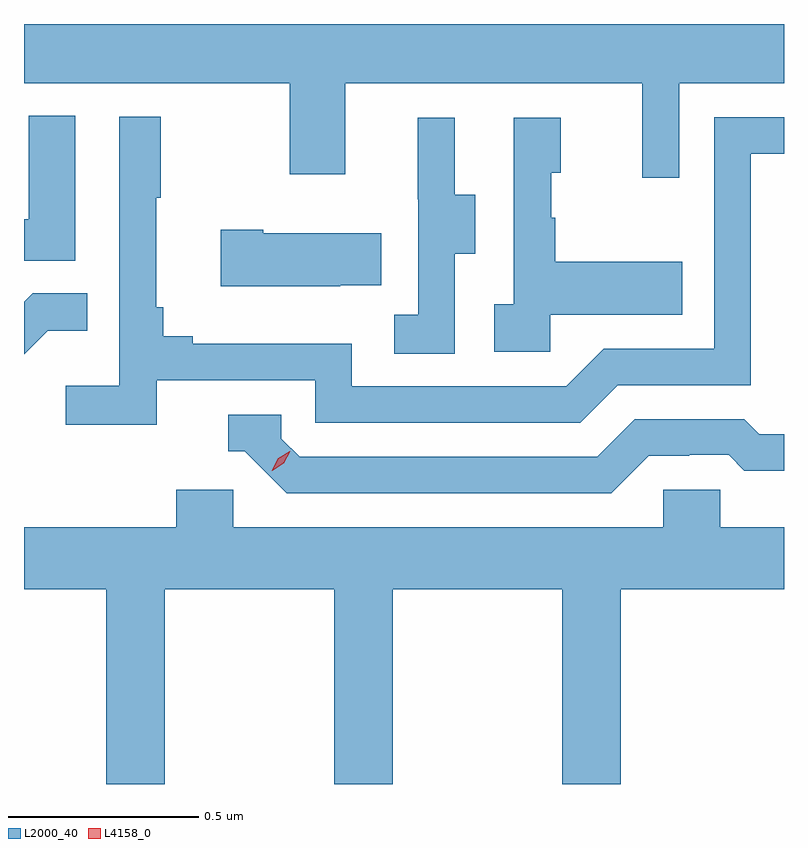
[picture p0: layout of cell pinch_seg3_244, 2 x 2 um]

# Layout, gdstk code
import gdstk
lib = gdstk.Library(unit=1e-6, precision=1e-09)
def P(c, l, *ps):  # polygons
    for p in ps: c.add(gdstk.Polygon(p, *l))
L2000_40 = (2000, 40)
L4158_0 = (4158, 0)

pinch_seg3_244 = lib.new_cell('pinch_seg3_244')
P(pinch_seg3_244, L2000_40, [(902.115,731.552),(902.391,731.552),(902.391,731.708),(900.391,731.708),(900.391,731.552),(901.09,731.552),(901.09,731.313),(901.237,731.313),(901.237,731.552),(902.018,731.552),(902.018,731.304),(902.115,731.304)],
  [(900.526,731.467),(900.404,731.467),(900.404,731.194),(900.391,731.194),(900.391,731.085),(900.526,731.085)],
  [(900.74,730.77),(901.158,730.77),(901.158,730.659),(901.855,730.659),(901.954,730.758),(902.304,730.758),(902.304,731.367),(902.391,731.367),(902.391,731.463),(902.208,731.463),(902.208,730.854),(901.917,730.854),(901.818,730.755),(901.254,730.755),(901.254,730.867),(900.835,730.867),(900.835,730.886),(900.758,730.886),(900.758,730.963),(900.739,730.963),(900.739,731.251),(900.751,731.251),(900.751,731.464),(900.642,731.464),(900.642,730.756),(900.501,730.756),(900.501,730.654),(900.74,730.654)],
  [(901.524,731.104),(901.579,731.104),(901.579,731.259),(901.525,731.259),(901.525,731.461),(901.427,731.461),(901.427,731.247),(901.428,731.247),(901.428,730.943),(901.365,730.943),(901.365,730.84),(901.524,730.84)],
  [(901.776,730.943),(902.123,730.943),(902.123,731.083),(901.789,731.083),(901.789,731.198),(901.779,731.198),(901.779,731.316),(901.804,731.316),(901.804,731.461),(901.68,731.461),(901.68,730.97),(901.629,730.97),(901.629,730.845),(901.776,730.845)],
  [(901.223,731.021),(901.331,731.021),(901.331,731.158),(901.021,731.158),(901.021,731.166),(900.909,731.166),(900.909,731.018),(901.223,731.018)],
  [(900.453,730.901),(900.557,730.901),(900.557,731),(900.414,731),(900.391,730.977),(900.391,730.839)],
  [(902.035,730.572),(902.142,730.572),(902.142,730.575),(902.245,730.575),(902.287,730.533),(902.391,730.533),(902.391,730.629),(902.326,730.629),(902.287,730.668),(901.998,730.668),(901.899,730.569),(901.116,730.569),(901.068,730.617),(901.068,730.68),(900.929,730.68),(900.929,730.584),(900.972,730.584),(901.083,730.473),(901.936,730.473)],
  [(900.762,730.22),(901.207,730.22),(901.207,729.708),(901.362,729.708),(901.362,730.22),(901.807,730.22),(901.807,729.708),(901.962,729.708),(901.962,730.22),(902.391,730.22),(902.391,730.384),(902.223,730.384),(902.223,730.482),(902.073,730.482),(902.073,730.384),(900.942,730.384),(900.942,730.482),(900.791,730.482),(900.791,730.384),(900.391,730.384),(900.391,730.22),(900.607,730.22),(900.607,729.708),(900.762,729.708)])
P(pinch_seg3_244, L4158_0, [(901.043,730.532),(901.043,730.532),(901.06,730.565),(901.09,730.584),(901.091,730.584),(901.091,730.584),(901.074,730.552),(901.044,730.532)])

lib.write_gds('pinch_seg3_244.gds')
